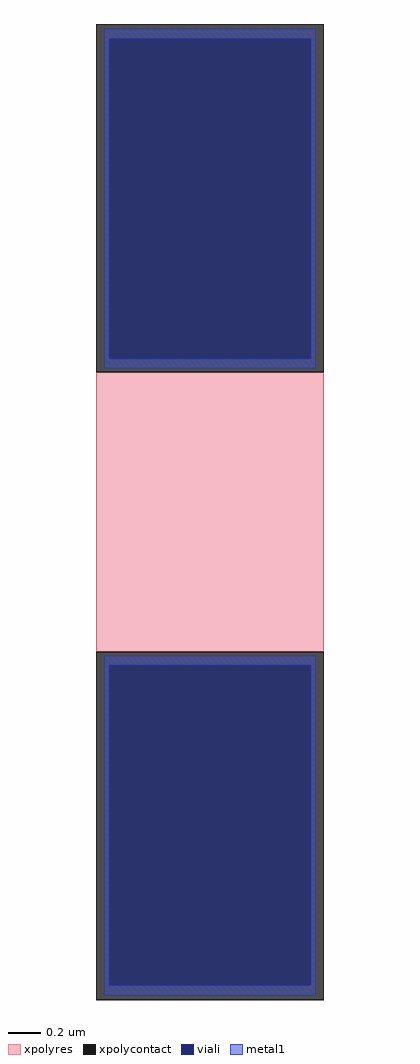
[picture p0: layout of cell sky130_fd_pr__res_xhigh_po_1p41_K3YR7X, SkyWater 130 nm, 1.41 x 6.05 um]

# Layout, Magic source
magic
tech sky130A
magscale 1 2
<< xpolycontact >>
rect -141 173 141 605
rect -141 -605 141 -173
<< xpolyres >>
rect -141 -173 141 173
<< viali >>
rect -125 190 125 587
rect -125 -587 125 -190
<< metal1 >>
rect -131 587 131 599
rect -131 190 -125 587
rect 125 190 131 587
rect -131 178 131 190
rect -131 -190 131 -178
rect -131 -587 -125 -190
rect 125 -587 131 -190
rect -131 -599 131 -587
<< properties >>
string gencell sky130_fd_pr__res_xhigh_po_1p41
string library sky130
string parameters w 1.410 l 1.886 m 1 nx 1 wmin 1.410 lmin 0.50 rho 2000 val 2.942k dummy 0 dw 0.0 term 188.2 sterm 0.0 caplen 0 wmax 1.410 guard 0 glc 1 grc 1 gtc 1 gbc 1 compatible {sky130_fd_pr__res_xhigh_po_0p35  sky130_fd_pr__res_xhigh_po_0p69 sky130_fd_pr__res_xhigh_po_1p41  sky130_fd_pr__res_xhigh_po_2p85 sky130_fd_pr__res_xhigh_po_5p73} snake 0 full_metal 1 n_guard 0 hv_guard 0 vias 1 viagb 0 viagt 0 viagl 0 viagr 0
<< end >>
